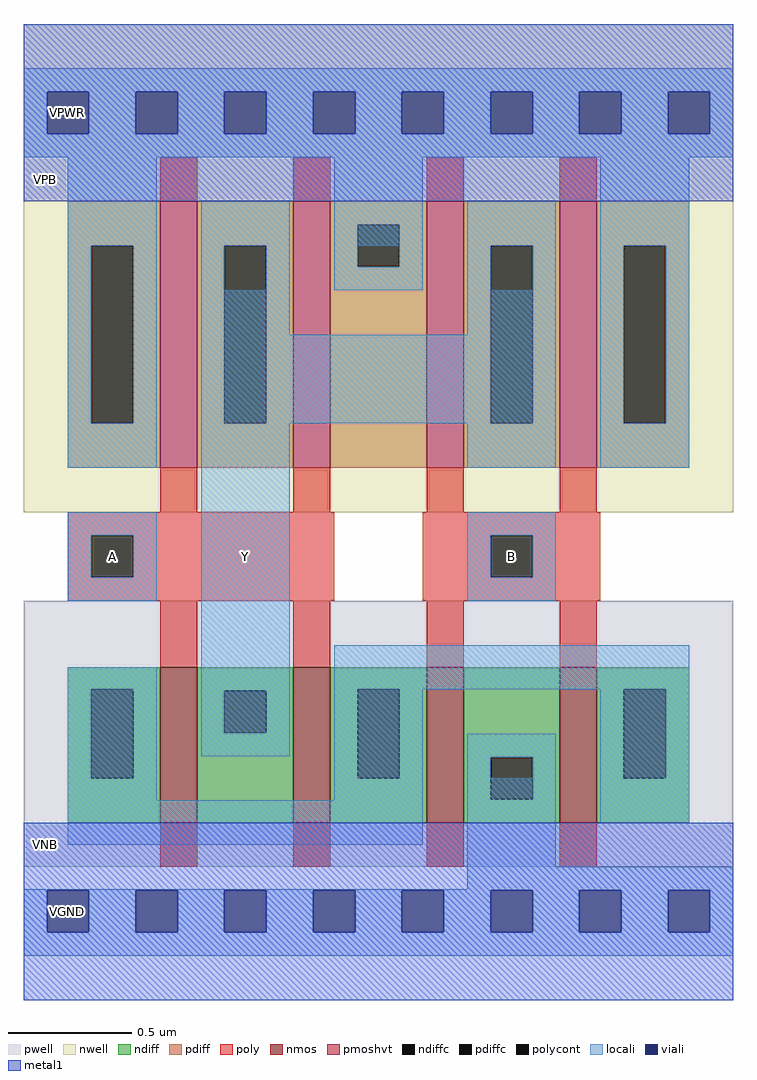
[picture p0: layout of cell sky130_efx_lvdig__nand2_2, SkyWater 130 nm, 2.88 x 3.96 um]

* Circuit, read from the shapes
.subckt sky130_efx_lvdig__nand2_2 A B Y VGND VPWR VPB VNB
XM1 Y A nmos_n3f5_f2_l150_fbf_1/D0 VNB sky130_fd_pr__nfet_01v8 w=0.63 l=0.15 m=2
XM2 VGND B nmos_n3f5_f2_l150_fbf_1/D0 VNB sky130_fd_pr__nfet_01v8 w=0.63 l=0.15 m=2
XM3 Y A VPWR VPB sky130_fd_pr__pfet_01v8_hvt w=1.08 l=0.15 m=2
XM4 Y B VPWR VPB sky130_fd_pr__pfet_01v8_hvt w=1.08 l=0.15 m=2
.ends

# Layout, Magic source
magic
tech sky130A
magscale 1 2
<< nwell >>
rect 0 288 576 684
<< pwell >>
rect 0 0 576 216
<< poly >>
rect 36 269 252 288
rect 36 235 55 269
rect 89 235 252 269
rect 36 216 252 235
rect 324 269 468 288
rect 324 235 379 269
rect 413 235 468 269
rect 324 216 468 235
<< polycont >>
rect 55 235 89 269
rect 379 235 413 269
<< locali >>
rect 0 629 576 648
rect 0 595 19 629
rect 53 595 91 629
rect 125 595 163 629
rect 197 595 235 629
rect 269 595 307 629
rect 341 595 379 629
rect 413 595 451 629
rect 485 595 523 629
rect 557 595 576 629
rect 0 576 576 595
rect 36 504 108 576
rect 252 504 324 576
rect 468 504 540 576
rect 144 432 216 468
rect 360 432 432 468
rect 144 360 432 432
rect 36 269 108 288
rect 36 235 55 269
rect 89 235 108 269
rect 36 216 108 235
rect 36 72 108 144
rect 144 108 216 360
rect 360 269 432 288
rect 360 235 379 269
rect 413 235 432 269
rect 360 216 432 235
rect 252 144 540 180
rect 252 72 324 144
rect 468 72 540 144
rect 36 18 324 54
rect 360 0 432 72
rect 360 -18 576 0
rect 0 -19 576 -18
rect 0 -53 19 -19
rect 53 -53 91 -19
rect 125 -53 163 -19
rect 197 -53 235 -19
rect 269 -53 307 -19
rect 341 -53 379 -19
rect 413 -53 451 -19
rect 485 -53 523 -19
rect 557 -53 576 -19
rect 0 -72 576 -53
<< viali >>
rect 19 595 53 629
rect 91 595 125 629
rect 163 595 197 629
rect 235 595 269 629
rect 307 595 341 629
rect 379 595 413 629
rect 451 595 485 629
rect 523 595 557 629
rect 19 -53 53 -19
rect 91 -53 125 -19
rect 163 -53 197 -19
rect 235 -53 269 -19
rect 307 -53 341 -19
rect 379 -53 413 -19
rect 451 -53 485 -19
rect 523 -53 557 -19
<< metal1 >>
rect 0 629 576 684
rect 0 595 19 629
rect 53 595 91 629
rect 125 595 163 629
rect 197 595 235 629
rect 269 595 307 629
rect 341 595 379 629
rect 413 595 451 629
rect 485 595 523 629
rect 557 595 576 629
rect 0 540 576 595
rect 0 -19 576 36
rect 0 -53 19 -19
rect 53 -53 91 -19
rect 125 -53 163 -19
rect 197 -53 235 -19
rect 269 -53 307 -19
rect 341 -53 379 -19
rect 413 -53 451 -19
rect 485 -53 523 -19
rect 557 -53 576 -19
rect 0 -108 576 -53
use nmos_n3f5_f2_l150_fbf  nmos_n3f5_f2_l150_fbf_1
transform 1 0 288 0 1 36
box -72 -36 288 180
use nmos_n3f5_f2_l150_ftf  nmos_n3f5_f2_l150_ftf_0
transform 1 0 72 0 1 36
box -72 -36 288 180
use pmos_n6_f1_l150_hvt  pmos_n6_f1_l150_hvt_0
transform 1 0 72 0 1 324
box -72 -36 180 252
use pmos_n6_f1_l150_hvt  pmos_n6_f1_l150_hvt_3
transform 1 0 396 0 1 324
box -72 -36 180 252
use pmos_n6_f2_l150_hvt_ftf  pmos_n6_f2_l150_hvt_ftf_0
transform 1 0 180 0 1 324
box -72 -36 288 252
<< labels >>
flabel locali 36 216 108 288 0 FreeSans 288 0 0 0 A
port 1 nsew signal input
flabel locali 360 216 432 288 0 FreeSans 288 0 0 0 B
port 2 nsew signal input
flabel locali 144 216 216 288 0 FreeSans 288 0 0 0 Y
port 3 nsew signal output
flabel metal1 0 -72 72 0 0 FreeSans 288 0 0 0 VGND
port 4 nsew ground bidirectional
flabel metal1 0 576 72 648 0 FreeSans 288 0 0 0 VPWR
port 5 nsew power bidirectional
flabel nwell 0 540 36 576 0 FreeSans 288 0 0 0 VPB
port 6 nsew power bidirectional
flabel pwell 0 0 36 36 0 FreeSans 288 0 0 0 VNB
port 7 nsew ground bidirectional
<< properties >>
string FIXED_BBOX 0 -36 576 612
<< end >>

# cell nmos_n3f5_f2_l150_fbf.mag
magic
tech sky130A
magscale 1 2
<< pwell >>
rect -72 -36 288 180
<< nmos >>
rect 39 0 69 126
rect 147 0 177 126
<< ndiff >>
rect -36 108 39 126
rect -36 36 -17 108
rect 17 36 39 108
rect -36 0 39 36
rect 69 53 147 126
rect 69 19 91 53
rect 125 19 147 53
rect 69 0 147 19
rect 177 108 252 126
rect 177 36 199 108
rect 233 36 252 108
rect 177 0 252 36
<< ndiffc >>
rect -17 36 17 108
rect 91 19 125 53
rect 199 36 233 108
<< poly >>
rect 39 126 69 180
rect 147 126 177 180
rect 39 -36 69 0
rect 147 -36 177 0
<< locali >>
rect -36 108 36 126
rect -36 36 -17 108
rect 17 36 36 108
rect 180 108 252 126
rect -36 0 36 36
rect 72 53 144 72
rect 72 19 91 53
rect 125 19 144 53
rect 72 0 144 19
rect 180 36 199 108
rect 233 36 252 108
rect 180 0 252 36
<< labels >>
rlabel locali 0 18 0 18 0 S0
port 1 nsew
rlabel locali 216 18 216 18 0 D0
port 2 nsew
<< end >>

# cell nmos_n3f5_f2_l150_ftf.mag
magic
tech sky130A
magscale 1 2
<< pwell >>
rect -72 54 288 180
rect -72 0 72 54
rect 144 0 288 54
rect -72 -36 288 0
<< nmos >>
rect 39 0 69 126
rect 147 0 177 126
<< ndiff >>
rect -36 108 39 126
rect -36 36 -17 108
rect 17 36 39 108
rect -36 0 39 36
rect 69 107 147 126
rect 69 73 91 107
rect 125 73 147 107
rect 69 0 147 73
rect 177 108 252 126
rect 177 36 199 108
rect 233 36 252 108
rect 177 0 252 36
<< ndiffc >>
rect -17 36 17 108
rect 91 73 125 107
rect 199 36 233 108
<< poly >>
rect 39 126 69 180
rect 147 126 177 180
rect 39 -36 69 0
rect 147 -36 177 0
<< locali >>
rect -36 108 36 126
rect -36 36 -17 108
rect 17 36 36 108
rect 72 107 144 126
rect 72 73 91 107
rect 125 73 144 107
rect 72 54 144 73
rect 180 108 252 126
rect -36 0 36 36
rect 180 36 199 108
rect 233 36 252 108
rect 180 0 252 36
<< labels >>
rlabel locali 0 18 0 18 0 S0
port 1 nsew
rlabel locali 216 18 216 18 0 D0
port 2 nsew
<< end >>

# cell pmos_n6_f1_l150_hvt: kit device pmos, n 6 fingers 1 length 0.15 butted 0 ltap 0 rtap 0 vt hvt tgate 0 bgate 0

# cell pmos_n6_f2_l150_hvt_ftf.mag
magic
tech sky130A
magscale 1 2
<< nwell >>
rect -72 -36 288 252
<< pmoshvt >>
rect 39 0 69 216
rect 147 0 177 216
<< pdiff >>
rect -36 180 39 216
rect -36 36 -17 180
rect 17 36 39 180
rect -36 0 39 36
rect 69 197 147 216
rect 69 163 91 197
rect 125 163 147 197
rect 69 0 147 163
rect 177 180 252 216
rect 177 36 199 180
rect 233 36 252 180
rect 177 0 252 36
<< pdiffc >>
rect -17 36 17 180
rect 91 163 125 197
rect 199 36 233 180
<< poly >>
rect 39 216 69 252
rect 147 216 177 252
rect 39 -36 69 0
rect 147 -36 177 0
<< locali >>
rect -36 180 36 216
rect -36 36 -17 180
rect 17 36 36 180
rect 72 197 144 216
rect 72 163 91 197
rect 125 163 144 197
rect 72 144 144 163
rect 180 180 252 216
rect -36 0 36 36
rect 180 36 199 180
rect 233 36 252 180
rect 180 0 252 36
<< labels >>
rlabel locali 0 18 0 18 0 S0
port 1 nsew
rlabel locali 216 18 216 18 0 D0
port 2 nsew
<< end >>
